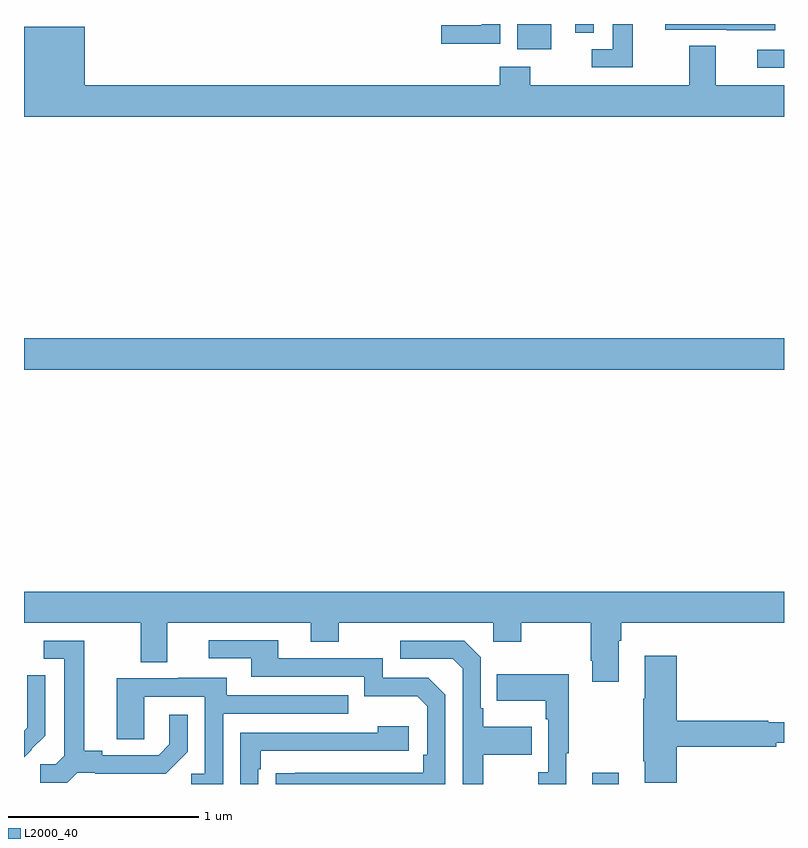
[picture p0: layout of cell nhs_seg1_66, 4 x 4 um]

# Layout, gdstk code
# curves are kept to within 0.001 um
import gdstk
lib = gdstk.Library(unit=1e-6, precision=1e-09)
def R(c, l, rs):  # rectangles x0, y0, x1, y1
    for r in rs: c.add(gdstk.rectangle(r[:2], r[2:], *l))
def P(c, l, *ps):  # polygons
    for p in ps: c.add(gdstk.Polygon(p, *l))
L2000_40 = (2000, 40)

nhs_seg1_66 = lib.new_cell('nhs_seg1_66')
R(nhs_seg1_66, L2000_40, [(115.991,568.199,116.131,568.258), (113,570.38,117,570.544), (116.859,571.968,117,572.064), (115.595,572.066,115.774,572.199), (115.902,572.152,115.998,572.199)])
P(nhs_seg1_66, L2000_40, [(116.203,572.199),(116.099,572.199),(116.099,572.067),(115.989,572.067),(115.989,571.971),(116.203,571.971)],
  [(116.953,572.199),(116.375,572.199),(116.375,572.169),(116.699,572.169),(116.699,572.165),(116.953,572.165)],
  [(115.506,572.199),(115.41,572.199),(115.41,572.193),(115.197,572.193),(115.197,572.095),(115.506,572.095)],
  [(117,571.876),(116.641,571.876),(116.641,572.084),(116.501,572.084),(116.501,571.876),(115.665,571.876),(115.665,571.975),(115.505,571.975),(115.505,571.876),(113.32,571.876),(113.32,572.185),(113,572.185),(113,571.712),(117,571.712)],
  [(116.131,568.952),(116.144,568.952),(116.144,569.048),(117,569.048),(117,569.212),(113,569.212),(113,569.048),(113.615,569.048),(113.615,568.84),(113.755,568.84),(113.755,569.048),(114.509,569.048),(114.509,568.949),(114.657,568.949),(114.657,569.048),(115.47,569.048),(115.47,568.949),(115.617,568.949),(115.617,569.048),(115.984,569.048),(115.984,568.849),(115.991,568.849),(115.991,568.737),(116.131,568.737)],
  [(115.218,568.668),(115.128,568.758),(114.888,568.758),(114.888,568.86),(114.337,568.86),(114.337,568.956),(113.973,568.956),(113.973,568.86),(114.197,568.86),(114.197,568.764),(114.792,568.764),(114.792,568.661),(115.069,568.661),(115.122,568.608),(115.122,568.354),(115.102,568.354),(115.102,568.257),(114.325,568.256),(114.325,568.199),(115.218,568.199)],
  [(115.417,568.354),(115.673,568.354),(115.673,568.501),(115.417,568.501),(115.417,568.597),(115.404,568.597),(115.404,568.866),(115.317,568.953),(114.981,568.953),(114.981,568.857),(115.257,568.857),(115.308,568.806),(115.308,568.199),(115.417,568.199)],
  [(113.28,568.257),(113.374,568.257),(113.374,568.254),(113.746,568.254),(113.862,568.37),(113.862,568.564),(113.765,568.564),(113.765,568.407),(113.708,568.35),(113.413,568.35),(113.413,568.373),(113.317,568.373),(113.317,568.953),(113.103,568.953),(113.103,568.857),(113.213,568.857),(113.213,568.349),(113.166,568.302),(113.085,568.302),(113.085,568.205),(113.228,568.205)],
  [(116.435,568.396),(116.96,568.396),(116.96,568.415),(117,568.415),(117,568.525),(116.918,568.525),(116.918,568.532),(116.435,568.532),(116.435,568.873),(116.267,568.873),(116.267,568.649),(116.26,568.649),(116.26,568.318),(116.267,568.318),(116.267,568.206),(116.435,568.206)],
  [(115.855,568.361),(115.867,568.361),(115.867,568.777),(115.489,568.777),(115.489,568.637),(115.746,568.637),(115.746,568.541),(115.758,568.541),(115.758,568.262),(115.707,568.262),(115.707,568.199),(115.855,568.199)],
  [(113.04,568.38),(113.039,568.381),(113.112,568.454),(113.112,568.772),(113.016,568.772),(113.016,568.618),(113.018,568.618),(113.018,568.496),(113,568.478),(113,568.34)],
  [(114.048,568.569),(114.707,568.569),(114.707,568.665),(114.067,568.665),(114.067,568.759),(113.813,568.759),(113.813,568.755),(113.489,568.755),(113.489,568.435),(113.634,568.435),(113.634,568.659),(113.952,568.659),(113.952,568.254),(113.88,568.254),(113.88,568.199),(114.048,568.199)],
  [(114.234,568.277),(114.247,568.277),(114.247,568.374),(115.024,568.374),(115.024,568.504),(114.863,568.504),(114.863,568.47),(114.138,568.47),(114.138,568.199),(114.234,568.199)])

lib.write_gds('nhs_seg1_66.gds')
